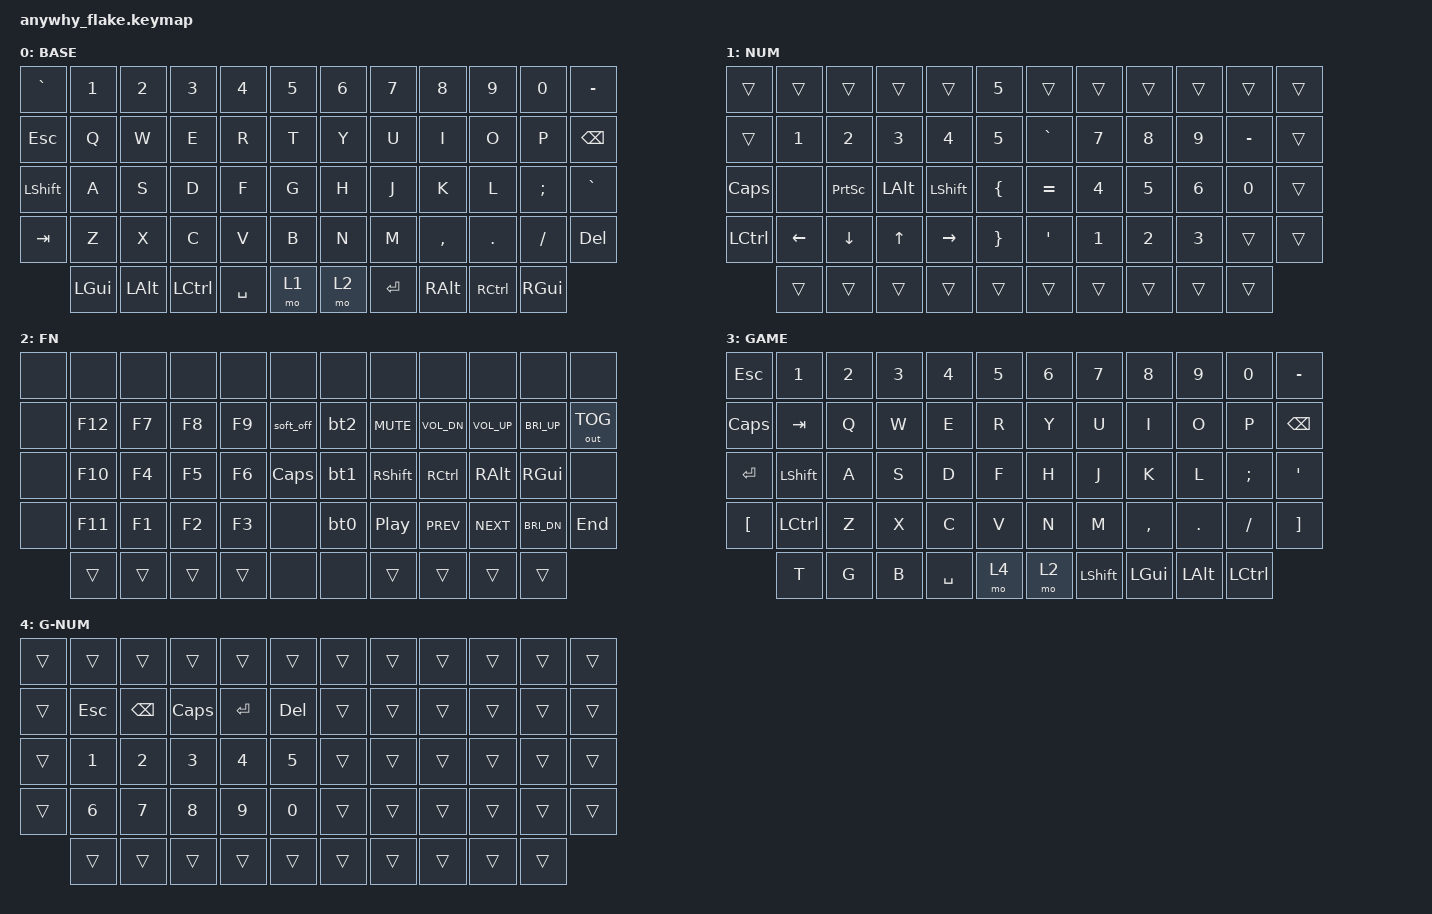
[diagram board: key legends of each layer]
#include <behaviors.dtsi>
#include <dt-bindings/zmk/bt.h>
#include <dt-bindings/zmk/keys.h>
#include <dt-bindings/zmk/outputs.h>

// Só desliga segurando 2 s. As metades vinham desligando ao apertar, sem
// esperar o tempo, por isso o split-peripheral-off-on-press sai.
&soft_off {
    hold-time-ms = <2000>;
    /delete-property/ split-peripheral-off-on-press;
};

/ {
    combos {
        compatible = "zmk,combos";

        bt_sel_3 {
            bindings = <&bt3>;
            key-positions = <42 30>;
            layers = <2>;
        };

        bt_sel_4 {
            bindings = <&bt4>;
            key-positions = <30 18>;
            layers = <2>;
        };

        enter_gaming {
            bindings = <&sl 3>;
            key-positions = <26 15 28>;
            layers = <2>;
        };

        leave_gaming {
            bindings = <&sl 0>;
            key-positions = <31 20 33>;
            layers = <4>;
        };

        grave {
            bindings = <&kp GRAVE>;
            key-positions = <13 25>;
            layers = <3>;
        };
    };

    macros {
        bt_clr_0: bt_clr_0 {
            compatible = "zmk,behavior-macro";
            #binding-cells = <0>;
            bindings = <&bt BT_SEL 0 &bt BT_CLR>;
            label = "BT_CLR_0";
        };

        bt_clr_1: bt_clr_1 {
            compatible = "zmk,behavior-macro";
            #binding-cells = <0>;
            bindings = <&bt BT_SEL 1 &bt BT_CLR>;
            label = "BT_CLR_1";
        };

        bt_clr_2: bt_clr_2 {
            compatible = "zmk,behavior-macro";
            #binding-cells = <0>;
            bindings = <&bt BT_SEL 2 &bt BT_CLR>;
            label = "BT_CLR_2";
        };

        bt_clr_3: bt_clr_3 {
            compatible = "zmk,behavior-macro";
            #binding-cells = <0>;
            bindings = <&bt BT_SEL 3 &bt BT_CLR>;
            label = "BT_CLR_3";
        };

        bt_clr_4: bt_clr_4 {
            compatible = "zmk,behavior-macro";
            #binding-cells = <0>;
            bindings = <&bt BT_SEL 4 &bt BT_CLR>;
            label = "BT_CLR_4";
        };
    };

    behaviors {
        bt0: bt0 {
            compatible = "zmk,behavior-mod-morph";
            label = "BT0";
            bindings = <&bt BT_SEL 0>, <&bt_clr_0>;
            #binding-cells = <0>;
            mods = <(MOD_LSFT|MOD_RSFT)>;
        };

        bt1: bt1 {
            compatible = "zmk,behavior-mod-morph";
            label = "BT1";
            bindings = <&bt BT_SEL 1>, <&bt_clr_1>;
            #binding-cells = <0>;
            mods = <(MOD_LSFT|MOD_RSFT)>;
        };

        bt2: bt2 {
            compatible = "zmk,behavior-mod-morph";
            label = "BT2";
            bindings = <&bt BT_SEL 2>, <&bt_clr_2>;
            #binding-cells = <0>;
            mods = <(MOD_LSFT|MOD_RSFT)>;
        };

        bt3: bt3 {
            compatible = "zmk,behavior-mod-morph";
            label = "BT3";
            bindings = <&bt BT_SEL 3>, <&bt_clr_3>;
            #binding-cells = <0>;
            mods = <(MOD_LSFT|MOD_RSFT)>;
        };

        bt4: bt4 {
            compatible = "zmk,behavior-mod-morph";
            label = "BT4";
            bindings = <&bt BT_SEL 4>, <&bt_clr_4>;
            #binding-cells = <0>;
            mods = <(MOD_LSFT|MOD_RSFT)>;
        };
    };

    keymap {
        compatible = "zmk,keymap";

        base {
            display-name = "BASE";
            bindings = <
&kp GRAVE  &kp N1    &kp N2    &kp N3     &kp N4     &kp N5    &kp N6   &kp N7     &kp N8     &kp N9    &kp N0     &kp MINUS
&kp ESC    &kp Q     &kp W     &kp E      &kp R      &kp T     &kp Y    &kp U      &kp I      &kp O     &kp P      &kp BSPC
&kp LSHFT  &kp A     &kp S     &kp D      &kp F      &kp G     &kp H    &kp J      &kp K      &kp L     &kp SEMI   &kp GRAVE
&kp TAB    &kp Z     &kp X     &kp C      &kp V      &kp B     &kp N    &kp M      &kp COMMA  &kp DOT   &kp FSLH   &kp DEL
           &kp LGUI  &kp LALT  &kp LCTRL  &kp SPACE  &mo 1     &mo 2    &kp RET    &kp RALT   &kp RCTRL &kp RGUI
            >;
        };

        num {
            display-name = "NUM";
            bindings = <
&trans  &trans    &trans    &trans     &trans     &kp N5     &trans     &trans  &trans  &trans  &trans     &trans
&trans      &kp N1    &kp N2     &kp N3     &kp N4     &kp N5     &kp GRAVE  &kp N7  &kp N8  &kp N9  &kp MINUS  &trans
&kp CAPS    &none     &kp PSCRN  &kp LALT   &kp LSHFT  &kp LBRC   &kp EQUAL  &kp N4  &kp N5  &kp N6  &kp N0     &trans
&kp LCTRL   &kp LEFT  &kp DOWN   &kp UP     &kp RIGHT  &kp RBRC   &kp SQT    &kp N1  &kp N2  &kp N3  &trans     &trans
                  &trans    &trans     &trans     &trans     &trans     &trans  &trans  &trans  &trans     &trans
            >;
        };

        fn {
            display-name = "FN";
            bindings = <
&none  &none    &none   &none   &none   &none       &none   &none       &none         &none         &none         &none
&none  &kp F12  &kp F7  &kp F8  &kp F9  &soft_off   &bt2    &kp C_MUTE  &kp C_VOL_DN  &kp C_VOL_UP  &kp C_BRI_UP  &out OUT_TOG
&none  &kp F10  &kp F4  &kp F5  &kp F6  &kp CAPS    &bt1    &kp RSHFT   &kp RCTRL     &kp RALT      &kp RGUI      &none
&none  &kp F11  &kp F1  &kp F2  &kp F3  &none       &bt0    &kp C_PP    &kp C_PREV    &kp C_NEXT    &kp C_BRI_DN  &kp END
                &trans  &trans  &trans  &trans      &none   &none       &trans        &trans        &trans        &trans
            >;
        };

        gaming {
            display-name = "GAME";
            bindings = <
&kp ESC    &kp N1     &kp N2  &kp N3  &kp N4     &kp N5    &kp N6  &kp N7     &kp N8     &kp N9    &kp N0     &kp MINUS
&kp CAPS   &kp TAB    &kp Q   &kp W   &kp E      &kp R     &kp Y   &kp U      &kp I      &kp O     &kp P      &kp BSPC
&kp ENTER  &kp LSHFT  &kp A   &kp S   &kp D      &kp F     &kp H   &kp J      &kp K      &kp L     &kp SEMI   &kp APOS
&kp LBKT   &kp LCTRL  &kp Z   &kp X   &kp C      &kp V     &kp N   &kp M      &kp COMMA  &kp DOT   &kp FSLH   &kp RBKT
           &kp T      &kp G   &kp B   &kp SPACE  &mo 4     &mo 2   &kp LSHFT  &kp LGUI   &kp LALT  &kp LCTRL
            >;
        };

        gaming_num {
            display-name = "G-NUM";
            bindings = <
&trans  &trans   &trans    &trans    &trans     &trans     &trans  &trans  &trans  &trans  &trans  &trans
&trans  &kp ESC  &kp BSPC  &kp CAPS  &kp ENTER  &kp DEL    &trans  &trans  &trans  &trans  &trans  &trans
&trans  &kp N1   &kp N2    &kp N3    &kp N4     &kp N5     &trans  &trans  &trans  &trans  &trans  &trans
&trans  &kp N6   &kp N7    &kp N8    &kp N9     &kp N0     &trans  &trans  &trans  &trans  &trans  &trans
        &trans   &trans    &trans    &trans     &trans     &trans  &trans  &trans  &trans  &trans
            >;
        };
    };
};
